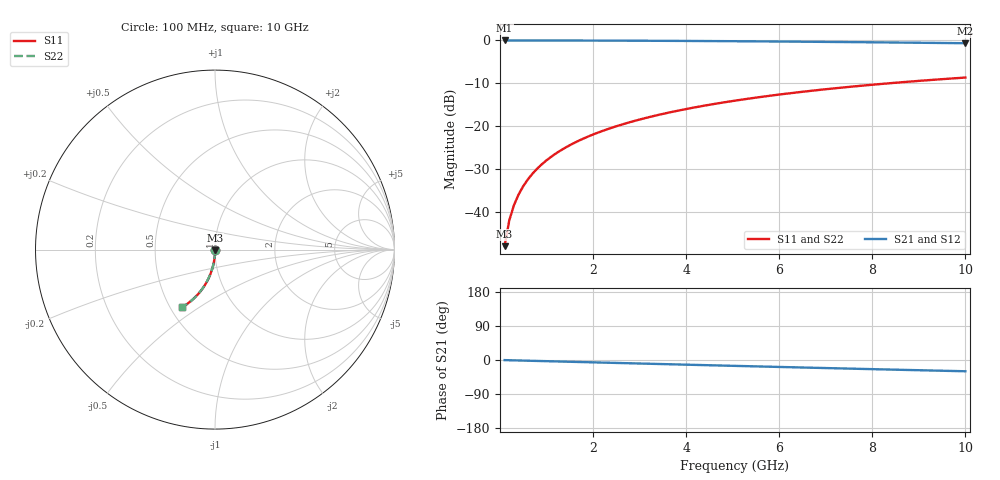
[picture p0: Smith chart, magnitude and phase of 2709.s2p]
# Hz S RI R 50.00
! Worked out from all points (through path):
!   100 points, 100 MHz to 10 GHz, reference 50 ohm
!   highest |S21| = 0.00 dB at 100 MHz (marker M1); lowest = -0.6 dB at 10 GHz (marker M2)
!   group delay of S21, straight-line fit = 8.29 ps
!   lowest |S11| = -47.9 dB at 100 MHz (marker M3), VSWR 1.01, Z = 50 - j0.404 ohm
!   |S11| at or under -10 dB: start of sweep to 8.323 GHz
!   |S22| runs from -47.9 to -8.6 dB; largest |S21 - S12| = 0
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1e8  0.00029 -0.00404  0.9997 -0.00541  0.9997 -0.00541  0.00029 -0.00404
2e8  0.000222 -0.00808  0.9996 -0.0108  0.9996 -0.0108  0.000222 -0.00808
3e8  0.00011 -0.0121  0.9995 -0.0162  0.9995 -0.0162  0.00011 -0.0121
4e8  -4.64e-05 -0.0161  0.9993 -0.0216  0.9993 -0.0216  -4.64e-05 -0.0161
5e8  -0.000246 -0.0202  0.9991 -0.027  0.9991 -0.027  -0.000246 -0.0202
6e8  -0.00049 -0.0242  0.9988 -0.0324  0.9988 -0.0324  -0.00049 -0.0242
7e8  -0.000777 -0.0282  0.9985 -0.0378  0.9985 -0.0378  -0.000777 -0.0282
8e8  -0.00111 -0.0323  0.9982 -0.0432  0.9982 -0.0432  -0.00111 -0.0323
9e8  -0.00148 -0.0363  0.9978 -0.0486  0.9978 -0.0486  -0.00148 -0.0363
1.1e9  -0.00236 -0.0443  0.9969 -0.0594  0.9969 -0.0594  -0.00236 -0.0443
1.4e9  -0.004 -0.0563  0.9952 -0.0755  0.9952 -0.0755  -0.004 -0.0563
1.8e9  -0.00679 -0.0722  0.9922 -0.0968  0.9922 -0.0968  -0.00679 -0.0722
2.1e9  -0.00932 -0.084  0.9896 -0.1127  0.9896 -0.1127  -0.00932 -0.084
2.5e9  -0.0133 -0.0995  0.9855 -0.1338  0.9855 -0.1338  -0.0133 -0.0995
2.9e9  -0.0179 -0.1149  0.9806 -0.1546  0.9806 -0.1546  -0.0179 -0.1149
3.4e9  -0.0246 -0.1337  0.9737 -0.1803  0.9737 -0.1803  -0.0246 -0.1337
4.2e9  -0.0372 -0.1628  0.9604 -0.2205  0.9604 -0.2205  -0.0372 -0.1628
5.1e9  -0.0542 -0.1939  0.9427 -0.264  0.9427 -0.264  -0.0542 -0.1939
5.9e9  -0.0714 -0.2197  0.9246 -0.301  0.9246 -0.301  -0.0714 -0.2197
6.7e9  -0.0905 -0.2438  0.9045 -0.3361  0.9045 -0.3361  -0.0905 -0.2438
8.4e9  -0.1361 -0.2883  0.8563 -0.4045  0.8563 -0.4045  -0.1361 -0.2883
1e10  -0.1836 -0.3214  0.806 -0.4603  0.806 -0.4603  -0.1836 -0.3214
